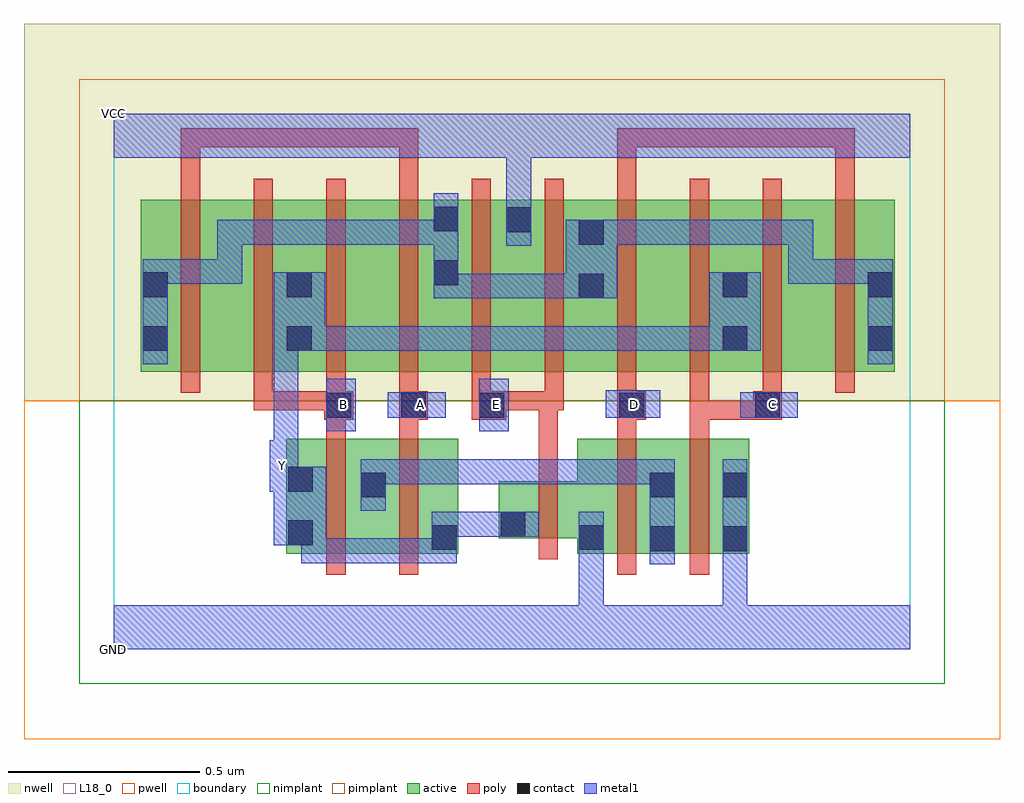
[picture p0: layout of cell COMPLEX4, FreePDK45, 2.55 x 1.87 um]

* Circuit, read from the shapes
.subckt COMPLEX4 A B C D E GND VCC Y
M1 n1 B Y VSUBS nfet w=0.3u l=0.05u
M2 Y A n1 VSUBS nfet w=0.3u l=0.05u
M3 GND E Y VSUBS nfet w=0.15u l=0.05u
M4 n1 D GND VSUBS nfet w=0.3u l=0.05u
M5 GND C n1 VSUBS nfet w=0.3u l=0.05u
M6 n2 A n3 n4 pfet w=0.45u l=0.05u
M7 Y B n2 n4 pfet w=0.45u l=0.05u
M8 n5 B Y n4 pfet w=0.45u l=0.05u
M9 n3 A n5 n4 pfet w=0.45u l=0.05u
M10 VCC E n3 n4 pfet w=0.45u l=0.05u m=2
M11 n6 D n3 n4 pfet w=0.45u l=0.05u
M12 Y C n6 n4 pfet w=0.45u l=0.05u
M13 n7 C Y n4 pfet w=0.45u l=0.05u
M14 n3 D n7 n4 pfet w=0.45u l=0.05u
.ends

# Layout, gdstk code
import gdstk
lib = gdstk.Library(unit=1e-6, precision=1e-09)
def R(c, l, rs):  # rectangles x0, y0, x1, y1
    for r in rs: c.add(gdstk.rectangle(r[:2], r[2:], *l))
def A(c, l, x, y, w, h, nx, ny, dx, dy):  # array of equal rectangles
    R(c, l, [(x+i*dx, y+j*dy, x+i*dx+w, y+j*dy+h) for i in range(nx) for j in range(ny)])
active = (1, 0)
pwell = (2, 0)
nwell = (3, 0)
nimplant = (4, 0)
pimplant = (5, 0)
poly = (9, 0)
contact = (10, 0)
metal1 = (11, 0)
L18_0 = (18, 0)
boundary = (235, 0)

complex4 = lib.new_cell('COMPLEX4')
R(complex4, active, [(0.45,0.25,0.715,0.55), (0.64,0.25,0.9,0.55), (1.21,0.25,1.47,0.55), (1.21,0.25,1.285,0.44), (1.395,0.25,1.66,0.55), (1.395,0.252,1.47,0.467), (1.585,0.252,1.66,0.55), (0.825,0.255,0.9,0.55), (0.45,0.257,0.525,0.55), (1.005,0.29,1.285,0.44), (1.005,0.29,1.08,0.44), (0.64,0.295,0.715,0.467), (0.07,0.725,0.145,1.155), (0.07,0.725,0.295,1.175), (0.295,0.725,0.522,1.175), (0.447,0.725,0.675,1.175), (0.675,0.725,0.905,1.175), (0.83,0.725,1.095,1.175), (1.02,0.725,1.285,1.175), (1.21,0.725,1.435,1.175), (1.435,0.725,1.66,1.175), (1.585,0.725,1.815,1.175), (1.815,0.725,2.04,1.175), (1.965,0.725,2.04,1.155), (0.447,0.732,0.522,1.07), (1.585,0.732,1.66,1.07), (0.83,0.742,0.905,1.162), (1.21,0.815,1.285,1.155), (1.02,0.857,1.095,1.175)])
R(complex4, pwell, [(-0.235,-0.235,2.315,0.65)])
R(complex4, nwell, [(-0.235,0.65,2.315,1.635)])
R(complex4, nimplant, [(-0.09,-0.09,2.17,0.65)])
R(complex4, pimplant, [(-0.09,0.65,2.17,1.49)])
A(complex4, poly, 0.365, 0.625, 0.05, 0.095, 6, 1, 0.19, 0)
A(complex4, poly, 0.175, 0.67, 0.05, 0.56, 10, 1, 0.19, 0)
A(complex4, poly, 0.175, 1.18, 0.05, 0.182, 4, 1, 0.57, 0)
R(complex4, poly, [(0.555,0.195,0.605,0.605), (0.745,0.195,0.795,0.605), (1.315,0.195,1.365,0.605), (1.505,0.195,1.555,0.605), (1.11,0.235,1.16,0.495), (1.11,0.445,1.16,0.675), (0.555,0.555,0.605,0.65), (0.745,0.555,0.795,0.65), (1.315,0.555,1.365,0.65), (1.505,0.555,1.555,0.65), (0.55,0.6,0.625,0.675), (0.745,0.6,0.82,0.675), (0.935,0.6,1.025,0.675), (1.315,0.6,1.39,0.675), (1.505,0.6,1.555,0.65), (1.505,0.6,1.555,0.65), (1.505,0.6,1.555,0.65), (1.505,0.6,1.72,0.65), (1.505,0.6,1.555,0.72), (1.67,0.6,1.745,0.675), (0.365,0.625,0.415,0.675), (0.365,0.625,0.6,0.675), (0.55,0.625,0.6,0.675), (0.55,0.625,0.6,0.675), (0.975,0.625,1.16,0.675), (1.11,0.625,1.16,0.675), (1.11,0.625,1.16,0.675), (1.11,0.625,1.175,0.675), (1.695,0.625,1.745,0.72), (0.175,1.312,0.225,1.362), (0.175,1.312,0.225,1.362), (0.175,1.312,0.225,1.362), (0.175,1.312,0.357,1.362), (0.307,1.312,0.357,1.362), (0.307,1.312,0.547,1.362), (0.497,1.312,0.547,1.362), (0.497,1.312,0.547,1.362), (0.497,1.312,0.547,1.362), (0.497,1.312,0.795,1.362), (0.745,1.312,0.795,1.362), (0.745,1.312,0.795,1.362), (0.745,1.312,0.795,1.362), (1.315,1.312,1.365,1.362), (1.315,1.312,1.365,1.362), (1.315,1.312,1.365,1.362), (1.315,1.312,1.587,1.362), (1.537,1.312,1.587,1.362), (1.537,1.312,1.587,1.362), (1.537,1.312,1.587,1.362), (1.537,1.312,1.802,1.362), (1.752,1.312,1.935,1.362), (1.752,1.312,1.802,1.362), (1.752,1.312,1.802,1.362), (1.752,1.312,1.802,1.362), (1.885,1.312,1.935,1.362)])
R(complex4, contact, [(1.4,0.257,1.465,0.322), (1.59,0.257,1.655,0.322), (0.83,0.26,0.895,0.325), (1.215,0.26,1.28,0.325), (0.455,0.272,0.52,0.337), (1.01,0.295,1.075,0.36), (0.645,0.397,0.71,0.462), (1.4,0.397,1.465,0.462), (1.59,0.397,1.655,0.462), (0.455,0.412,0.52,0.477), (0.555,0.605,0.62,0.67), (0.75,0.605,0.815,0.67), (0.955,0.605,1.02,0.67), (1.32,0.605,1.385,0.67), (1.675,0.605,1.74,0.67), (0.075,0.78,0.14,0.845), (0.452,0.78,0.517,0.845), (1.59,0.78,1.655,0.845), (1.97,0.78,2.035,0.845), (1.215,0.917,1.28,0.982), (0.075,0.92,0.14,0.985), (0.452,0.92,0.517,0.985), (1.59,0.92,1.655,0.985), (1.97,0.92,2.035,0.985), (0.835,0.952,0.9,1.017), (1.215,1.057,1.28,1.122), (1.025,1.09,1.09,1.155), (0.835,1.092,0.9,1.157)])
R(complex4, metal1, [(0,0,2.08,0.115), (1.215,0.05,1.28,0.115), (1.215,0.05,1.28,0.115), (1.215,0.05,1.28,0.115), (1.215,0.05,1.28,0.115), (1.215,0.05,1.28,0.29), (1.59,0.05,1.655,0.115), (1.59,0.05,1.655,0.115), (1.59,0.05,1.655,0.115), (1.59,0.05,1.655,0.115), (1.59,0.05,1.655,0.287), (1.4,0.222,1.465,0.497), (1.59,0.222,1.655,0.497), (0.49,0.225,0.555,0.29), (0.49,0.225,0.555,0.29), (0.49,0.225,0.555,0.29), (0.49,0.225,0.71,0.29), (0.49,0.225,0.555,0.337), (0.645,0.225,0.71,0.29), (0.645,0.225,0.765,0.29), (0.7,0.225,0.765,0.29), (0.7,0.225,0.895,0.29), (0.83,0.225,0.895,0.36), (1.215,0.225,1.28,0.36), (0.417,0.272,0.555,0.477), (0.83,0.295,1.04,0.36), (0.975,0.295,1.04,0.36), (0.975,0.295,1.04,0.36), (0.975,0.295,1.11,0.36), (0.645,0.362,0.71,0.497), (0.407,0.412,0.482,0.547), (0.417,0.412,0.482,0.477), (0.645,0.432,0.71,0.497), (0.645,0.432,0.71,0.497), (0.645,0.432,0.902,0.497), (0.837,0.432,0.902,0.497), (0.837,0.432,1.06,0.497), (0.995,0.432,1.06,0.497), (0.995,0.432,1.06,0.497), (0.995,0.432,1.06,0.497), (0.995,0.432,1.197,0.497), (1.132,0.432,1.197,0.497), (1.132,0.432,1.197,0.497), (1.132,0.432,1.197,0.497), (1.132,0.432,1.335,0.497), (1.27,0.432,1.335,0.497), (1.27,0.432,1.465,0.497), (0.417,0.482,0.482,0.845), (0.555,0.57,0.632,0.707), (0.955,0.57,1.032,0.707), (0.715,0.605,0.867,0.672), (1.285,0.605,1.427,0.677), (1.637,0.605,1.787,0.672), (0.075,0.745,0.14,1.02), (1.97,0.745,2.035,1.02), (0.417,0.78,0.552,0.985), (0.487,0.78,0.552,0.845), (0.487,0.78,0.552,0.845), (0.487,0.78,0.71,0.845), (0.645,0.78,0.71,0.845), (0.645,0.78,0.71,0.845), (0.645,0.78,0.71,0.845), (0.645,0.78,0.847,0.845), (0.782,0.78,0.847,0.845), (0.782,0.78,1.06,0.845), (0.995,0.78,1.06,0.845), (0.995,0.78,1.06,0.845), (0.995,0.78,1.06,0.845), (0.995,0.78,1.197,0.845), (1.132,0.78,1.197,0.845), (1.132,0.78,1.197,0.845), (1.132,0.78,1.197,0.845), (1.132,0.78,1.335,0.845), (1.27,0.78,1.335,0.845), (1.27,0.78,1.452,0.845), (1.387,0.78,1.452,0.845), (1.387,0.78,1.565,0.845), (1.5,0.78,1.565,0.845), (1.5,0.78,1.62,0.845), (1.555,0.78,1.69,0.985), (0.835,0.917,0.9,1.192), (0.835,0.917,1.06,0.982), (0.995,0.917,1.06,0.982), (0.995,0.917,1.06,0.982), (0.995,0.917,1.06,0.982), (0.995,0.917,1.197,0.982), (1.132,0.917,1.197,0.982), (1.132,0.917,1.245,0.982), (1.18,0.917,1.315,1.122), (0.075,0.955,0.14,1.02), (0.075,0.955,0.14,1.02), (0.075,0.955,0.335,1.02), (0.27,0.955,0.335,1.02), (0.27,0.955,0.335,1.122), (1.762,0.955,1.827,1.02), (1.762,0.955,2.035,1.02), (1.762,0.955,1.827,1.122), (1.97,0.955,2.035,1.02), (1.97,0.955,2.035,1.02), (1.025,1.055,1.09,1.19), (0.27,1.057,0.335,1.122), (0.27,1.057,0.335,1.122), (0.27,1.057,0.335,1.122), (0.27,1.057,0.572,1.122), (0.507,1.057,0.572,1.122), (0.507,1.057,0.572,1.122), (0.507,1.057,0.572,1.122), (0.507,1.057,0.71,1.122), (0.645,1.057,0.71,1.122), (0.645,1.057,0.71,1.122), (0.645,1.057,0.71,1.122), (0.645,1.057,0.9,1.122), (1.25,1.057,1.335,1.122), (1.27,1.057,1.335,1.122), (1.27,1.057,1.482,1.122), (1.417,1.057,1.482,1.122), (1.417,1.057,1.482,1.122), (1.417,1.057,1.482,1.122), (1.417,1.057,1.62,1.122), (1.555,1.057,1.62,1.122), (1.555,1.057,1.827,1.122), (1.762,1.057,1.827,1.122), (1.762,1.057,1.827,1.122), (1.762,1.057,1.827,1.122), (1.025,1.125,1.09,1.19), (1.025,1.125,1.09,1.19), (1.025,1.125,1.09,1.35), (0,1.285,2.08,1.4)])
A(complex4, L18_0, 0.567, 0.607, 0.065, 0.065, 3, 1, 0.2, 0)
R(complex4, L18_0, [(0,0,2.08,0.115), (1.215,0.05,1.28,0.115), (1.215,0.05,1.28,0.115), (1.215,0.05,1.28,0.115), (1.215,0.05,1.28,0.115), (1.215,0.05,1.28,0.29), (1.59,0.05,1.655,0.115), (1.59,0.05,1.655,0.115), (1.59,0.05,1.655,0.115), (1.59,0.05,1.655,0.115), (1.59,0.05,1.655,0.287), (1.59,0.222,1.655,0.497), (0.49,0.225,0.555,0.29), (0.49,0.225,0.555,0.29), (0.49,0.225,0.555,0.29), (0.49,0.225,0.555,0.337), (0.49,0.225,0.71,0.29), (0.645,0.225,0.71,0.29), (0.645,0.225,0.765,0.29), (0.7,0.225,0.765,0.29), (0.7,0.225,0.895,0.29), (0.83,0.225,0.895,0.36), (1.215,0.225,1.28,0.36), (0.417,0.272,0.555,0.477), (0.83,0.295,1.04,0.36), (0.975,0.295,1.04,0.36), (0.975,0.295,1.04,0.36), (0.975,0.295,1.11,0.36), (0.407,0.412,0.482,0.547), (0.417,0.412,0.482,0.477), (0.407,0.447,0.472,0.512), (0.417,0.482,0.482,0.845), (0.555,0.57,0.632,0.707), (0.955,0.57,1.032,0.707), (0.715,0.605,0.867,0.672), (1.285,0.605,1.427,0.677), (1.637,0.605,1.787,0.672), (1.327,0.607,1.392,0.672), (1.687,0.607,1.752,0.672), (0.417,0.78,0.552,0.985), (0.487,0.78,0.552,0.845), (0.487,0.78,0.552,0.845), (0.487,0.78,0.71,0.845), (0.645,0.78,0.71,0.845), (0.645,0.78,0.71,0.845), (0.645,0.78,0.71,0.845), (0.645,0.78,0.847,0.845), (0.782,0.78,0.847,0.845), (0.782,0.78,1.06,0.845), (0.995,0.78,1.06,0.845), (0.995,0.78,1.06,0.845), (0.995,0.78,1.06,0.845), (0.995,0.78,1.197,0.845), (1.132,0.78,1.197,0.845), (1.132,0.78,1.197,0.845), (1.132,0.78,1.197,0.845), (1.132,0.78,1.335,0.845), (1.27,0.78,1.335,0.845), (1.27,0.78,1.452,0.845), (1.387,0.78,1.452,0.845), (1.387,0.78,1.565,0.845), (1.5,0.78,1.565,0.845), (1.5,0.78,1.62,0.845), (1.555,0.78,1.69,0.985), (1.025,1.055,1.09,1.19), (1.025,1.125,1.09,1.19), (1.025,1.125,1.09,1.19), (1.025,1.125,1.09,1.35), (0,1.285,2.08,1.4)])
R(complex4, boundary, [(0,0,2.08,1.4)])
complex4.add(gdstk.Label('A', (0.8,0.64), layer=11, texttype=0))
complex4.add(gdstk.Label('B', (0.6,0.64), layer=11, texttype=0))
complex4.add(gdstk.Label('C', (1.72,0.64), layer=11, texttype=0))
complex4.add(gdstk.Label('D', (1.36,0.64), layer=11, texttype=0))
complex4.add(gdstk.Label('E', (1,0.64), layer=11, texttype=0))
complex4.add(gdstk.Label('Y', (0.44,0.48), layer=11, texttype=0))
complex4.add(gdstk.Label('VCC', (0,1.4), layer=11, texttype=0))
complex4.add(gdstk.Label('GND', (0,0), layer=11, texttype=0))

lib.write_gds('COMPLEX4.gds')
